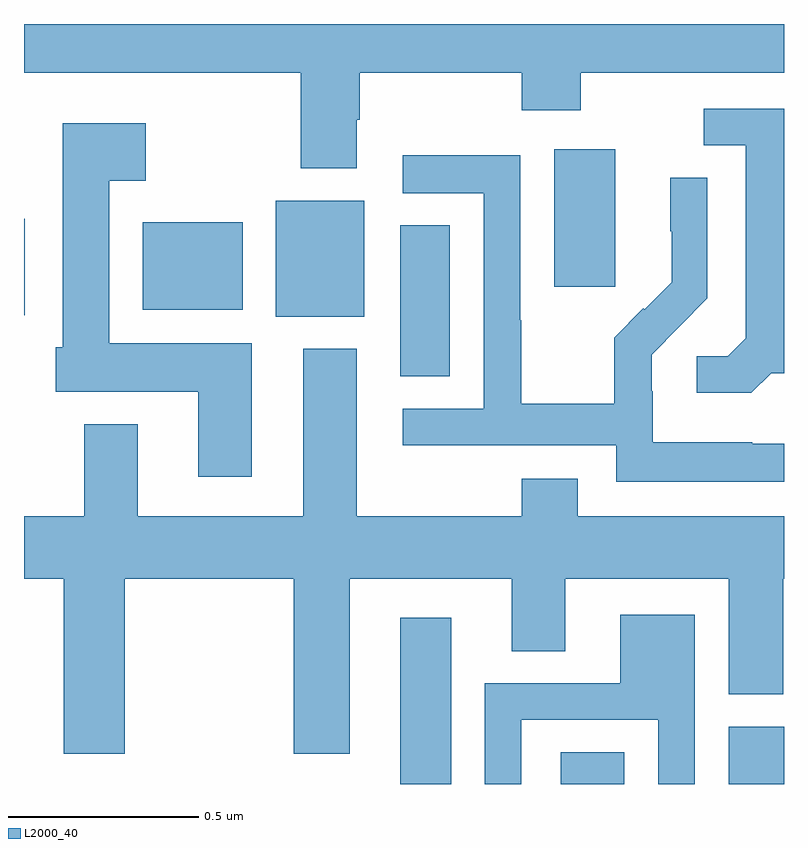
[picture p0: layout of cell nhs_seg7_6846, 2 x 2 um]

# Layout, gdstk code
import gdstk
lib = gdstk.Library(unit=1e-6, precision=1e-09)
def R(c, l, rs):  # rectangles x0, y0, x1, y1
    for r in rs: c.add(gdstk.rectangle(r[:2], r[2:], *l))
def P(c, l, *ps):  # polygons
    for p in ps: c.add(gdstk.Polygon(p, *l))
L2000_40 = (2000, 40)

nhs_seg7_6846 = lib.new_cell('nhs_seg7_6846')
R(nhs_seg7_6846, L2000_40, [(203.99,1076,204.124,1076.437), (204.413,1076,204.58,1076.084), (204.854,1076,205,1076.151), (203.99,1077.073,204.121,1077.47), (203.663,1077.23,203.896,1077.535), (203,1077.233,203.002,1077.487), (203.312,1077.248,203.575,1077.478), (204.395,1077.309,204.556,1077.67)])
P(nhs_seg7_6846, L2000_40, [(203.875,1077.748),(203.883,1077.748),(203.883,1077.872),(204.31,1077.872),(204.31,1077.773),(204.465,1077.773),(204.465,1077.872),(205,1077.872),(205,1078),(203,1078),(203,1077.872),(203.728,1077.872),(203.728,1077.62),(203.875,1077.62)],
  [(204.966,1077.081),(205,1077.081),(205,1077.777),(204.789,1077.777),(204.789,1077.681),(204.899,1077.681),(204.899,1077.173),(204.852,1077.126),(204.771,1077.126),(204.771,1077.029),(204.914,1077.029)],
  [(203.599,1077.16),(203.224,1077.16),(203.224,1077.587),(203.32,1077.587),(203.32,1077.739),(203.102,1077.739),(203.102,1077.15),(203.084,1077.15),(203.084,1077.032),(203.459,1077.032),(203.459,1076.808),(203.599,1076.808)],
  [(205,1076.895),(204.917,1076.895),(204.917,1076.899),(204.654,1076.899),(204.654,1077.033),(204.652,1077.033),(204.652,1077.13),(204.726,1077.204),(204.725,1077.205),(204.798,1077.278),(204.798,1077.596),(204.701,1077.596),(204.701,1077.455),(204.704,1077.455),(204.704,1077.32),(204.633,1077.249),(204.63,1077.252),(204.553,1077.175),(204.553,1077.001),(204.309,1077.001),(204.309,1077.221),(204.306,1077.221),(204.306,1077.654),(203.997,1077.654),(203.997,1077.555),(204.21,1077.555),(204.21,1076.988),(203.997,1076.988),(203.997,1076.892),(204.558,1076.892),(204.558,1076.795),(205,1076.795)],
  [(203.265,1076.54),(203.71,1076.54),(203.71,1076.079),(203.857,1076.079),(203.857,1076.54),(204.284,1076.54),(204.284,1076.35),(204.424,1076.35),(204.424,1076.54),(204.854,1076.54),(204.854,1076.236),(204.998,1076.236),(204.998,1076.54),(205,1076.54),(205,1076.704),(204.457,1076.704),(204.457,1076.803),(204.31,1076.803),(204.31,1076.704),(203.875,1076.704),(203.875,1077.145),(203.735,1077.145),(203.735,1076.704),(203.299,1076.704),(203.299,1076.947),(203.159,1076.947),(203.159,1076.704),(203,1076.704),(203,1076.54),(203.105,1076.54),(203.105,1076.079),(203.265,1076.079)],
  [(204.309,1076.169),(204.669,1076.169),(204.669,1076),(204.765,1076),(204.765,1076.446),(204.569,1076.446),(204.569,1076.265),(204.213,1076.265),(204.213,1076),(204.309,1076)])

lib.write_gds('nhs_seg7_6846.gds')
